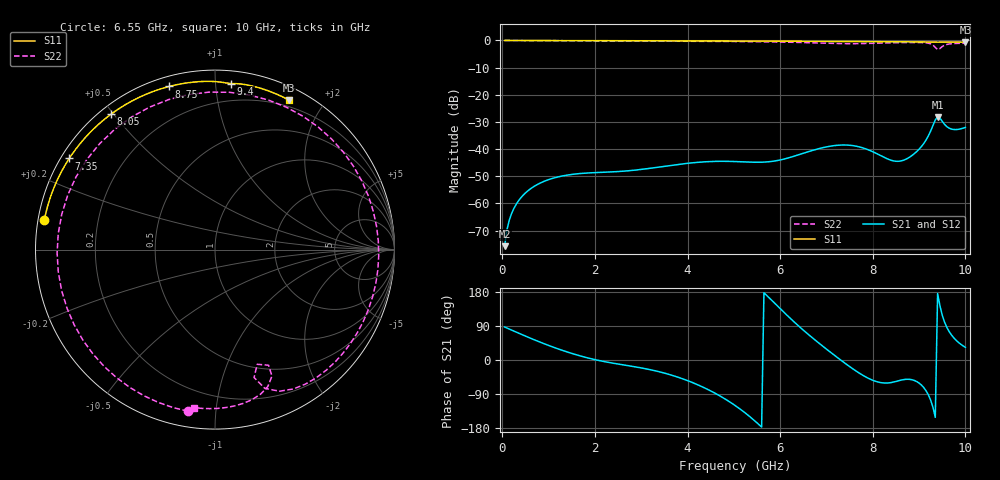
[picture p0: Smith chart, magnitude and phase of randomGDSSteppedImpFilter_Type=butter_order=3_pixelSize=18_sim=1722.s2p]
! freq	dB(S11)	phase(S11)	dB(S12)	phase(S12)
!  dB(S21)	phase(S21)	dB(S22)	phase(S22)
!S-par simulation data
#  GHz  S  DB  R 50
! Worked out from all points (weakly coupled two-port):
!   200 points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, 50 MHz to 10 GHz, reference 50 ohm
!   highest |S21| = -28.18 dB at 9.4 GHz (marker M1); lowest = -75.7 dB at 50 MHz (marker M2)
!   lowest |S11| = -0.6 dB at 10 GHz (marker M3), VSWR 27.31, Z = 6.58 + j80.3 ohm
!   |S11| at or under -10 dB: nowhere
!   |S22| runs from -3.3 to 0.0 dB; largest |S21 - S12| = 0
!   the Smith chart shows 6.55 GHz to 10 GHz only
!   S11 on the Smith chart (normalised r, x): 6.55 GHz: 0.02, +0.09; 7.35 GHz: 0.02, +0.29; 8.05 GHz: 0.03, +0.49; 8.75 GHz: 0.05, +0.76; 9.4 GHz: 0.08, +1.10; 10 GHz: 0.13, +1.61
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0.05  -0.00 -1.7  -75.72 87.1  -75.72 87.1  -0.00 -3.8
0.2  -0.01 -6.8  -63.74 79.0  -63.74 79.0  -0.02 -15.1
0.5  -0.02 -16.8  -56.12 63.1  -56.12 63.1  -0.05 -37.3
1.1  -0.05 -36.7  -50.69 33.9  -50.69 33.9  -0.10 -79.5
1.75  -0.07 -57.5  -48.89 8.5  -48.89 8.5  -0.13 -121.1
2.6  -0.10 -83.3  -48.14 -12.7  -48.14 -12.7  -0.17 -170.8
3.4  -0.13 -106.2  -46.55 -31.4  -46.55 -31.4  -0.22 143.3
4.25  -0.17 -129.3  -44.82 -67.0  -44.82 -67.0  -0.29 90.3
5.05  -0.21 -150.4  -44.58 -122.0  -44.58 -122.0  -0.38 33.2
5.75  -0.25 -168.6  -44.65 165.7  -44.65 165.7  -0.51 -23.7
6.2  -0.29 179.5  -43.12 112.1  -43.12 112.1  -0.65 -64.4
6.55  -0.31 170.1  -41.25 73.5  -41.25 73.5  -0.79 -99.5
6.7  -0.32 166.1  -40.47 58.1  -40.47 58.1  -0.86 -115.9
7.05  -0.35 156.4  -39.01 23.9  -39.01 23.9  -1.04 -158.5
7.35  -0.37 148.0  -38.48 -4.0  -38.48 -4.0  -1.16 159.7
7.7  -0.40 137.9  -39.13 -34.0  -39.13 -34.0  -1.16 107.1
8.05  -0.43 127.5  -41.35 -55.8  -41.35 -55.8  -1.01 56.6
8.35  -0.46 118.3  -43.82 -60.3  -43.82 -60.3  -0.86 19.3
8.75  -0.50 105.7  -43.41 -50.8  -43.41 -50.8  -0.75 -21.3
9.2  -0.57 90.8  -35.14 -91.7  -35.14 -91.7  -1.00 -60.6
9.4  -0.63 84.5  -28.18 175.6  -28.18 175.6  -3.34 -69.8
10  -0.64 63.6  -32.00 33.4  -32.00 33.4  -1.03 -97.5
